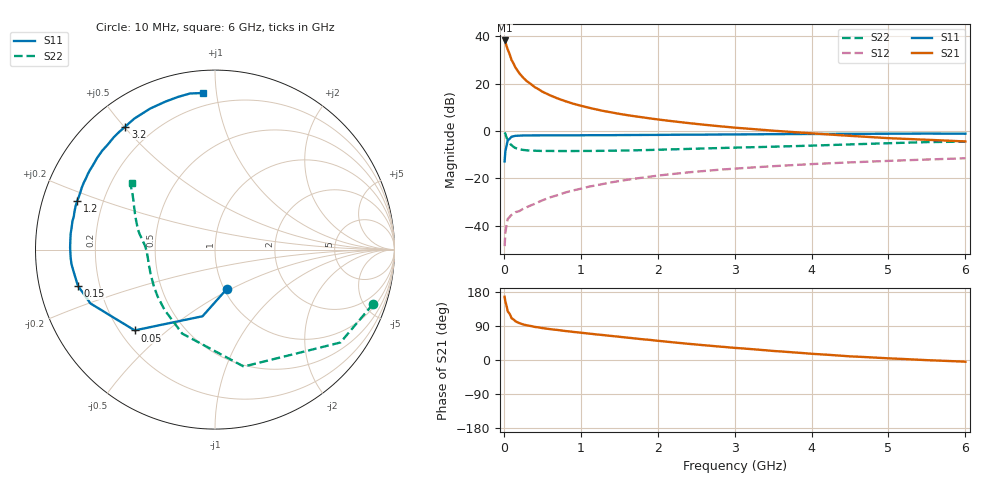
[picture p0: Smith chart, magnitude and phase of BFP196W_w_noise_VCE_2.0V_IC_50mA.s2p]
! Infineon Technologies  Discrete & RF Semiconductors
! BFP196W
! VCE =  2.0 V,  IC =  50 mA
! Common Emitter S-Parameters:  Jan 2017
# GHz  S  MA  R  50
!  f  S11  S21  S12  S22
! GHz  MAG  ANG  MAG  ANG  MAG  ANG  MAG  ANG
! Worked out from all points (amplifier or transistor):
!   77 points, 10 MHz to 6 GHz, reference 50 ohm
!   highest |S21| = 38.2 dB at 10 MHz (marker M1)
!   |S21| within 3 dB of that: start of sweep to 42.07 MHz
!   unconditionally stable (mu >= 1): 627 MHz to 3.374 GHz
!   at 130 MHz: K = 0.45, MSG = 31.5 dB, |S12| = -34.8 dB
!   at 2.2 GHz: K = 1.04, MAG = 10.0 dB, |S12| = -18.2 dB
!   at 6 GHz: K = 0.97, MSG = 3.5 dB, |S12| = -11.5 dB
!   lowest NFmin = 1.36 dB at 450 MHz
!   S11 on the Smith chart (normalised r, x): 10 MHz: 1.04, -0.47; 50 MHz: 0.26, -0.39; 150 MHz: 0.12, -0.13; 1.2 GHz: 0.11, +0.17; 3.2 GHz: 0.10, +0.50; 6 GHz: 0.12, +0.92
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0.01  0.2275 -72.6  81.4 166.8  0.0037 76.7  0.9311 -19.0
0.02  0.3778 -100.6  75.31 153.8  0.0071 72.4  0.8698 -36.5
0.05  0.6346 -134.8  52.9 128.4  0.0138 48.4  0.671 -76.2
0.1  0.7559 -156.6  31.56 110.3  0.0169 40.8  0.5024 -111.3
0.15  0.7898 -165.2  21.93 102.3  0.0193 40.7  0.4377 -130.0
0.2  0.7962 -170.6  16.65 97.4  0.0203 44.5  0.4127 -140.8
0.25  0.8037 -174.2  13.4 93.9  0.0227 46.6  0.3985 -148.3
0.3  0.8055 -176.8  11.2 91.5  0.0247 49.3  0.3901 -153.4
0.4  0.8073 179.2  8.458 87.4  0.0289 54.0  0.3826 -160.3
0.5  0.8077 176.2  6.771 84.3  0.0343 57.3  0.3787 -164.6
0.6  0.8091 173.6  5.66 81.5  0.0396 58.8  0.379 -167.9
0.7  0.8081 171.3  4.849 79.2  0.0443 61.6  0.3769 -170.2
0.9  0.8082 166.7  3.771 74.2  0.0555 62.6  0.3773 -173.7
1.1  0.8137 162.6  3.109 69.9  0.0664 62.9  0.3791 -176.4
1.2  0.8139 160.6  2.852 67.6  0.0713 62.4  0.3796 -177.7
1.6  0.8206 153.1  2.164 59.1  0.0929 60.5  0.3875 177.9
2.1  0.8289 143.8  1.674 48.7  0.1189 56.6  0.4053 173.1
3.1  0.8467 127.6  1.142 30.6  0.1642 47.5  0.4488 164.1
3.2  0.8485 126.1  1.109 29.0  0.1682 46.6  0.4527 163.2
4.1  0.865 113.5  0.87 15.2  0.2032 38.7  0.4963 154.4
5.1  0.8759 102.7  0.694 3.5  0.2367 30.5  0.5574 145.7
6  0.8749 94.4  0.601 -4.5  0.2654 23.4  0.596 141.2
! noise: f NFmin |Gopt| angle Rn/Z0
0.45  1.36  0.51  -177  0.05
0.9  1.48  0.55  -171  0.07
1.9  2.3  0.69  -149  0.16
2.4  2.7  0.73  -144  0.26
